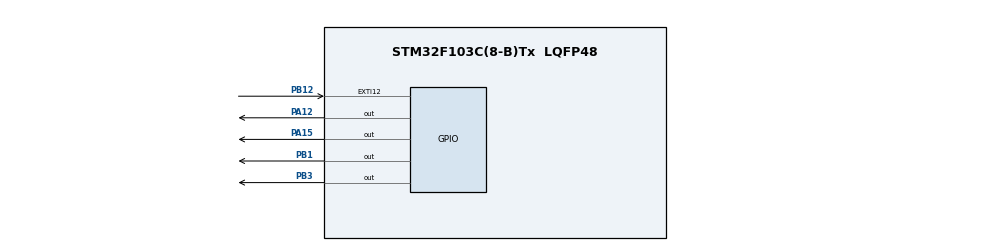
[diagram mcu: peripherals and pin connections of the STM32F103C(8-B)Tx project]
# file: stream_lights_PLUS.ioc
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Mcu.Family=STM32F1
Mcu.Name=STM32F103C(8-B)Tx
Mcu.Package=LQFP48
NVIC.EXTI15_10_IRQn=true\:0\:0\:false\:false\:true\:true\:true\:true
NVIC.PriorityGroup=NVIC_PRIORITYGROUP_4
PA12.Signal=GPIO_Output
PA13.Mode=Serial_Wire
PA13.Signal=SYS_JTMS-SWDIO
PA14.Mode=Serial_Wire
PA14.Signal=SYS_JTCK-SWCLK
PA15.Signal=GPIO_Output
PB1.Signal=GPIO_Output
PB12.GPIO_ModeDefaultEXTI=GPIO_MODE_IT_FALLING
PB12.GPIO_PuPd=GPIO_PULLUP
PB12.Signal=GPXTI12
PB3.Signal=GPIO_Output
PD0-OSC_IN.Mode=HSE-External-Oscillator
PD0-OSC_IN.Signal=RCC_OSC_IN
PD1-OSC_OUT.Mode=HSE-External-Oscillator
PD1-OSC_OUT.Signal=RCC_OSC_OUT
ProjectManager.HeapSize=0x200
ProjectManager.StackSize=0x400
ProjectManager.TargetToolchain=STM32CubeIDE
RCC.APB1Freq_Value=8000000
RCC.APB2Freq_Value=8000000
board=custom

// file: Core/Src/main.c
/* USER CODE BEGIN Header */
/**
  ******************************************************************************
  * @file           : main.c
  * @brief          : Main program body
  ******************************************************************************
  * @attention
  *
  * Copyright (c) 2026 STMicroelectronics.
  * All rights reserved.
  *
  * This software is licensed under terms that can be found in the LICENSE file
  * in the root directory of this software component.
  * If no LICENSE file comes with this software, it is provided AS-IS.
  *
  ******************************************************************************
  */
/* USER CODE END Header */
#include "main.h"

void SystemClock_Config(void);
static void MX_GPIO_Init(void);

/* USER CODE BEGIN 0 */

int dir = 1;          // 流水方向：1 为正序，-1 为倒序
int current_led = 0;  // 当前点亮的灯编号：0 ~ 3
uint32_t last_press_time = 0; // 记录上次按键时间（用于防抖）

// 当按下 KEY1 (PB12) 时，单片机自动跳到这里执行
void HAL_GPIO_EXTI_Callback(uint16_t GPIO_Pin)
{
    if (GPIO_Pin == GPIO_PIN_12)
    {
        // 消抖判断：两次按键间隔大于 200ms 才算有效按下
        if (HAL_GetTick() - last_press_time > 200)
        {
            dir = -dir; // 反转流水灯方向
            last_press_time = HAL_GetTick();
        }
    }
}

/* USER CODE END 0 */

int main(void)
{

  /* MCU Configuration--------------------------------------------------------*/

  /* Reset of all peripherals, Initializes the Flash interface and the Systick. */
  HAL_Init();

  /* Configure the system clock */
  SystemClock_Config();

  /* Initialize all configured peripherals */
  MX_GPIO_Init();

  /* Infinite loop */
  while (1)
  {

    /* USER CODE BEGIN 3 */
	      // 1. 先将 4 颗灯全部熄灭
	      HAL_GPIO_WritePin(GPIOA, GPIO_PIN_12, GPIO_PIN_RESET);
	      HAL_GPIO_WritePin(GPIOA, GPIO_PIN_15, GPIO_PIN_RESET);
	      HAL_GPIO_WritePin(GPIOB, GPIO_PIN_3, GPIO_PIN_RESET);
	      HAL_GPIO_WritePin(GPIOB, GPIO_PIN_1, GPIO_PIN_RESET);

	      // 2. 点亮当前轮到的那一颗灯
	      if (current_led == 0)      HAL_GPIO_WritePin(GPIOA, GPIO_PIN_12, GPIO_PIN_SET);
	      else if (current_led == 1) HAL_GPIO_WritePin(GPIOA, GPIO_PIN_15, GPIO_PIN_SET);
	      else if (current_led == 2) HAL_GPIO_WritePin(GPIOB, GPIO_PIN_3, GPIO_PIN_SET);
	      else if (current_led == 3) HAL_GPIO_WritePin(GPIOB, GPIO_PIN_1, GPIO_PIN_SET);

	      // 3. 延时 200 毫秒
	      HAL_Delay(200);

	      // 4. 根据当前方向 dir 移动到下一颗灯
	      current_led = (current_led + dir + 4) % 4;
  }
  /* USER CODE END 3 */
}

void SystemClock_Config(void)
{
  RCC_OscInitTypeDef RCC_OscInitStruct = {0};
  RCC_ClkInitTypeDef RCC_ClkInitStruct = {0};

  /** Initializes the RCC Oscillators according to the specified parameters
  * in the RCC_OscInitTypeDef structure.
  */
  RCC_OscInitStruct.OscillatorType = RCC_OSCILLATORTYPE_HSI;
  RCC_OscInitStruct.HSIState = RCC_HSI_ON;
  RCC_OscInitStruct.HSICalibrationValue = RCC_HSICALIBRATION_DEFAULT;
  RCC_OscInitStruct.PLL.PLLState = RCC_PLL_NONE;
  if (HAL_RCC_OscConfig(&RCC_OscInitStruct) != HAL_OK)
  {
    Error_Handler();
  }

  /** Initializes the CPU, AHB and APB buses clocks
  */
  RCC_ClkInitStruct.ClockType = RCC_CLOCKTYPE_HCLK|RCC_CLOCKTYPE_SYSCLK
                              |RCC_CLOCKTYPE_PCLK1|RCC_CLOCKTYPE_PCLK2;
  RCC_ClkInitStruct.SYSCLKSource = RCC_SYSCLKSOURCE_HSI;
  RCC_ClkInitStruct.AHBCLKDivider = RCC_SYSCLK_DIV1;
  RCC_ClkInitStruct.APB1CLKDivider = RCC_HCLK_DIV1;
  RCC_ClkInitStruct.APB2CLKDivider = RCC_HCLK_DIV1;

  if (HAL_RCC_ClockConfig(&RCC_ClkInitStruct, FLASH_LATENCY_0) != HAL_OK)
  {
    Error_Handler();
  }
}

static void MX_GPIO_Init(void)
{
  GPIO_InitTypeDef GPIO_InitStruct = {0};

  /* GPIO Ports Clock Enable */
  __HAL_RCC_GPIOD_CLK_ENABLE();
  __HAL_RCC_GPIOB_CLK_ENABLE();
  __HAL_RCC_GPIOA_CLK_ENABLE();

  /*Configure GPIO pin Output Level */
  HAL_GPIO_WritePin(GPIOB, GPIO_PIN_1|GPIO_PIN_3, GPIO_PIN_RESET);

  /*Configure GPIO pin Output Level */
  HAL_GPIO_WritePin(GPIOA, GPIO_PIN_12|GPIO_PIN_15, GPIO_PIN_RESET);

  /*Configure GPIO pins : PB1 PB3 */
  GPIO_InitStruct.Pin = GPIO_PIN_1|GPIO_PIN_3;
  GPIO_InitStruct.Mode = GPIO_MODE_OUTPUT_PP;
  GPIO_InitStruct.Pull = GPIO_NOPULL;
  GPIO_InitStruct.Speed = GPIO_SPEED_FREQ_LOW;
  HAL_GPIO_Init(GPIOB, &GPIO_InitStruct);

  /*Configure GPIO pin : PB12 */
  GPIO_InitStruct.Pin = GPIO_PIN_12;
  GPIO_InitStruct.Mode = GPIO_MODE_IT_FALLING;
  GPIO_InitStruct.Pull = GPIO_PULLUP;
  HAL_GPIO_Init(GPIOB, &GPIO_InitStruct);

  /*Configure GPIO pins : PA12 PA15 */
  GPIO_InitStruct.Pin = GPIO_PIN_12|GPIO_PIN_15;
  GPIO_InitStruct.Mode = GPIO_MODE_OUTPUT_PP;
  GPIO_InitStruct.Pull = GPIO_NOPULL;
  GPIO_InitStruct.Speed = GPIO_SPEED_FREQ_LOW;
  HAL_GPIO_Init(GPIOA, &GPIO_InitStruct);

  /* EXTI interrupt init*/
  HAL_NVIC_SetPriority(EXTI15_10_IRQn, 0, 0);
  HAL_NVIC_EnableIRQ(EXTI15_10_IRQn);

}

void Error_Handler(void)
{
  __disable_irq();
  while (1)
  {
  }
}
